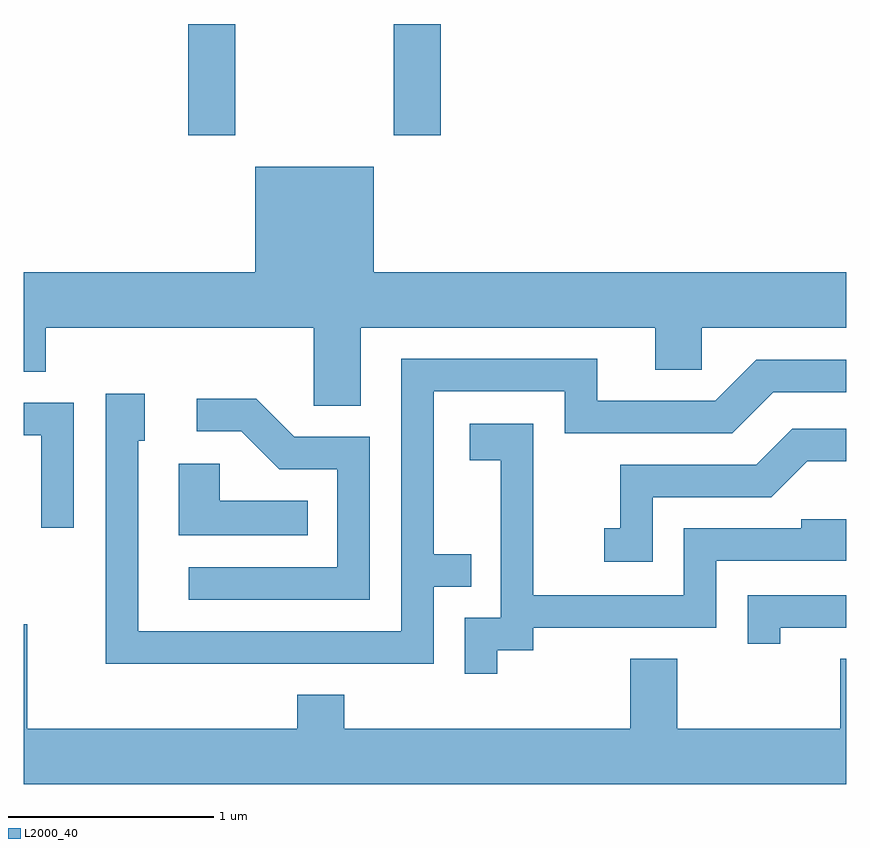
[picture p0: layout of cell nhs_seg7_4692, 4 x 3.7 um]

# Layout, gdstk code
import gdstk
lib = gdstk.Library(unit=1e-6, precision=1e-09)
def R(c, l, rs):  # rectangles x0, y0, x1, y1
    for r in rs: c.add(gdstk.rectangle(r[:2], r[2:], *l))
def P(c, l, *ps):  # polygons
    for p in ps: c.add(gdstk.Polygon(p, *l))
L2000_40 = (2000, 40)

nhs_seg7_4692 = lib.new_cell('nhs_seg7_4692')
R(nhs_seg7_4692, L2000_40, [(330.411,1699.711,330.639,1700.252), (331.411,1699.711,331.639,1700.252)])
P(nhs_seg7_4692, L2000_40, [(331.249,1698.776),(332.681,1698.776),(332.681,1698.571),(332.909,1698.571),(332.909,1698.776),(333.611,1698.776),(333.611,1699.044),(331.314,1699.044),(331.314,1699.559),(330.736,1699.559),(330.736,1699.044),(329.611,1699.044),(329.611,1698.561),(329.719,1698.561),(329.719,1698.776),(331.021,1698.776),(331.021,1698.396),(331.249,1698.396)],
  [(331.604,1697.516),(331.788,1697.516),(331.788,1697.674),(331.604,1697.674),(331.604,1698.466),(332.241,1698.466),(332.241,1698.261),(333.057,1698.261),(333.257,1698.461),(333.611,1698.461),(333.611,1698.619),(333.174,1698.619),(332.974,1698.419),(332.399,1698.419),(332.399,1698.624),(331.446,1698.624),(331.446,1697.299),(330.169,1697.299),(330.169,1698.226),(330.199,1698.226),(330.199,1698.454),(330.011,1698.454),(330.011,1697.141),(331.604,1697.141)],
  [(331.294,1698.244),(330.927,1698.244),(330.742,1698.429),(330.453,1698.429),(330.453,1698.271),(330.669,1698.271),(330.854,1698.086),(331.136,1698.086),(331.136,1697.609),(330.413,1697.609),(330.413,1697.451),(331.294,1697.451)],
  [(329.854,1698.409),(329.611,1698.409),(329.611,1698.251),(329.696,1698.251),(329.696,1697.803),(329.854,1697.803)],
  [(331.914,1697.206),(332.089,1697.206),(332.089,1697.316),(332.979,1697.316),(332.979,1697.641),(333.611,1697.641),(333.611,1697.844),(333.391,1697.844),(333.391,1697.799),(332.821,1697.799),(332.821,1697.474),(332.089,1697.474),(332.089,1698.309),(331.781,1698.309),(331.781,1698.131),(331.931,1698.131),(331.931,1697.364),(331.756,1697.364),(331.756,1697.093),(331.914,1697.093)],
  [(332.669,1697.951),(333.247,1697.951),(333.422,1698.126),(333.611,1698.126),(333.611,1698.284),(333.349,1698.284),(333.174,1698.109),(332.511,1698.109),(332.511,1697.799),(332.433,1697.799),(332.433,1697.636),(332.669,1697.636)],
  [(330.993,1697.934),(330.564,1697.934),(330.564,1698.114),(330.366,1698.114),(330.366,1697.766),(330.993,1697.766)],
  [(333.289,1697.316),(333.611,1697.316),(333.611,1697.474),(333.131,1697.474),(333.131,1697.238),(333.289,1697.238)],
  [(333.611,1697.164),(333.581,1697.164),(333.581,1696.824),(332.789,1696.824),(332.789,1697.164),(332.561,1697.164),(332.561,1696.824),(331.169,1696.824),(331.169,1696.989),(330.941,1696.989),(330.941,1696.824),(329.629,1696.824),(329.629,1697.334),(329.611,1697.334),(329.611,1696.556),(333.611,1696.556)])

lib.write_gds('nhs_seg7_4692.gds')
